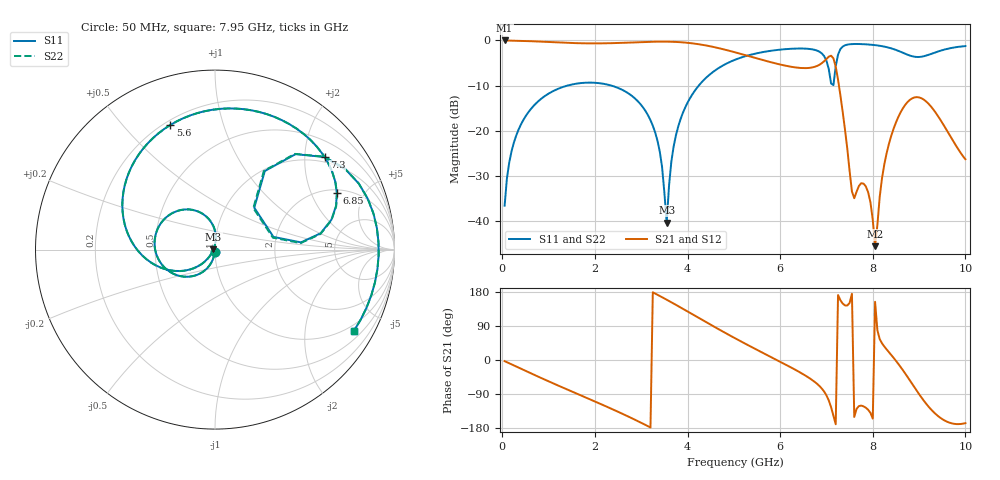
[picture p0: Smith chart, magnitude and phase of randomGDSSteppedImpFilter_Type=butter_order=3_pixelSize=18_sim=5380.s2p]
! freq	dB(S11)	phase(S11)	dB(S12)	phase(S12)
!  dB(S21)	phase(S21)	dB(S22)	phase(S22)
!S-par simulation data
#  GHz  S  DB  R 50
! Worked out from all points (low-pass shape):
!   200 points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, 50 MHz to 10 GHz, reference 50 ohm
!   highest |S21| = -0.02 dB at 50 MHz (marker M1); lowest = -45.5 dB at 8.05 GHz (marker M2)
!   |S21| within 3 dB of the highest: start of sweep to 5.162 GHz
!   lowest |S11| = -40.3 dB at 3.55 GHz (marker M3), VSWR 1.02, Z = 49.1 + j0.237 ohm
!   |S11| at or under -10 dB: start of sweep to 1.405 GHz; 2.356 GHz to 4.243 GHz (1.887 GHz wide, 57.2 % of centre)
!   |S22| runs from -40.9 to -0.8 dB; largest |S21 - S12| = 0
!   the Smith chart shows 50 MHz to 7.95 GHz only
!   S11 on the Smith chart (normalised r, x): 50 MHz: 1.00, -0.03; 5.6 GHz: 0.22, +0.68; 6.85 GHz: 2.17, +3.11; 7.3 GHz: 0.87, +2.47; 7.95 GHz: 0.76, -3.51
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0.05  -36.55 -98.4  -0.02 -3.0  -0.02 -3.0  -36.53 -98.4
0.2  -24.51 -102.9  -0.05 -11.5  -0.05 -11.5  -24.51 -102.9
0.5  -16.83 -119.2  -0.14 -28.6  -0.14 -28.6  -16.83 -119.3
1.75  -9.39 173.3  -0.65 -96.2  -0.65 -96.2  -9.39 173.2
2.85  -12.71 113.8  -0.45 -156.7  -0.45 -156.7  -12.71 113.6
3.4  -24.54 85.8  -0.28 169.0  -0.28 169.0  -24.56 85.0
3.55  -40.27 165.6  -0.29 159.1  -0.29 159.1  -40.92 165.7
3.65  -26.85 -129.4  -0.31 152.4  -0.31 152.4  -26.87 -128.4
3.9  -16.02 -138.9  -0.45 135.1  -0.45 135.1  -16.02 -138.7
5.05  -4.19 144.6  -2.71 55.8  -2.71 55.8  -4.19 144.5
5.6  -2.64 109.7  -4.28 20.5  -4.28 20.5  -2.64 109.7
6.7  -1.99 37.9  -5.97 -53.5  -5.97 -53.5  -2.00 37.8
6.85  -2.52 24.9  -5.38 -68.8  -5.38 -68.8  -2.52 24.7
7.15  -9.90 46.9  -3.97 -146.8  -3.97 -146.8  -10.04 47.3
7.3  -1.95 40.2  -12.10 158.0  -12.10 158.0  -1.96 40.5
7.55  -0.82 7.5  -33.40 174.7  -33.40 174.7  -0.82 7.6
7.95  -0.95 -30.6  -35.82 -139.5  -35.82 -139.5  -0.95 -30.5
8.05  -1.05 -40.7  -45.50 153.6  -45.50 153.6  -1.05 -40.7
8.35  -1.62 -76.9  -22.84 20.5  -22.84 20.5  -1.62 -76.9
8.9  -3.62 176.0  -12.62 -72.1  -12.62 -72.1  -3.63 175.9
9.35  -2.67 82.3  -15.87 -141.7  -15.87 -141.7  -2.67 82.0
10  -1.26 12.5  -26.28 -166.7  -26.28 -166.7  -1.26 12.3
